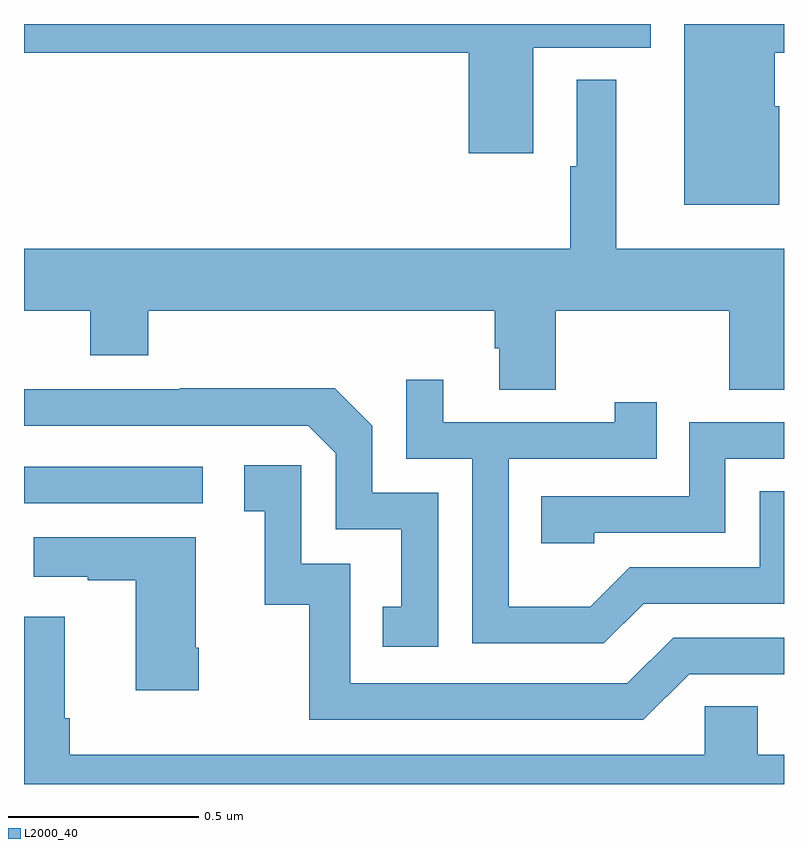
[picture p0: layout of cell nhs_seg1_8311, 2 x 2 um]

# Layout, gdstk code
import gdstk
lib = gdstk.Library(unit=1e-6, precision=1e-09)
def R(c, l, rs):  # rectangles x0, y0, x1, y1
    for r in rs: c.add(gdstk.rectangle(r[:2], r[2:], *l))
def P(c, l, *ps):  # polygons
    for p in ps: c.add(gdstk.Polygon(p, *l))
L2000_40 = (2000, 40)

nhs_seg1_8311 = lib.new_cell('nhs_seg1_8311')
R(nhs_seg1_8311, L2000_40, [(215,505.938,215.47,506.034)])
P(nhs_seg1_8311, L2000_40, [(216.34,507.137),(216.649,507.137),(216.649,507.199),(215,507.199),(215,507.124),(216.17,507.124),(216.17,506.859),(216.34,506.859)],
  [(216.988,506.982),(216.976,506.982),(216.976,507.124),(217,507.124),(217,507.199),(216.737,507.199),(216.737,506.723),(216.988,506.723)],
  [(216.399,506.444),(216.856,506.444),(216.856,506.236),(217,506.236),(217,506.608),(216.559,506.608),(216.559,507.052),(216.455,507.052),(216.455,506.825),(216.438,506.825),(216.438,506.608),(215,506.608),(215,506.444),(215.174,506.444),(215.174,506.327),(215.327,506.327),(215.327,506.444),(216.239,506.444),(216.239,506.346),(216.251,506.346),(216.251,506.236),(216.399,506.236)],
  [(216.631,505.674),(217,505.674),(217,505.969),(216.936,505.969),(216.936,505.77),(216.594,505.77),(216.49,505.666),(216.276,505.666),(216.276,506.055),(216.665,506.055),(216.665,506.203),(216.554,506.203),(216.554,506.151),(216.103,506.151),(216.103,506.263),(216.006,506.263),(216.006,506.055),(216.18,506.055),(216.18,505.569),(216.526,505.569)],
  [(216.09,505.965),(215.916,505.965),(215.916,506.142),(215.818,506.24),(215.41,506.24),(215.41,506.238),(215,506.238),(215,506.142),(215.748,506.142),(215.82,506.07),(215.82,505.869),(215.993,505.869),(215.993,505.665),(215.944,505.665),(215.944,505.56),(216.09,505.56)],
  [(216.501,505.86),(216.846,505.86),(216.846,506.055),(217,506.055),(217,506.151),(216.75,506.151),(216.75,505.956),(216.361,505.956),(216.361,505.833),(216.501,505.833)],
  [(216.75,505.488),(217,505.488),(217,505.584),(216.708,505.584),(216.588,505.464),(215.859,505.464),(215.859,505.779),(215.73,505.779),(215.73,506.038),(215.58,506.038),(215.58,505.917),(215.633,505.917),(215.633,505.671),(215.751,505.671),(215.751,505.368),(216.63,505.368)],
  [(215.46,505.558),(215.452,505.558),(215.452,505.849),(215.025,505.849),(215.025,505.745),(215.168,505.745),(215.168,505.735),(215.294,505.735),(215.294,505.446),(215.46,505.446)],
  [(217,505.276),(216.931,505.276),(216.931,505.403),(216.792,505.403),(216.792,505.276),(215.12,505.276),(215.12,505.372),(215.107,505.372),(215.107,505.639),(215,505.639),(215,505.199),(217,505.199)])

lib.write_gds('nhs_seg1_8311.gds')
